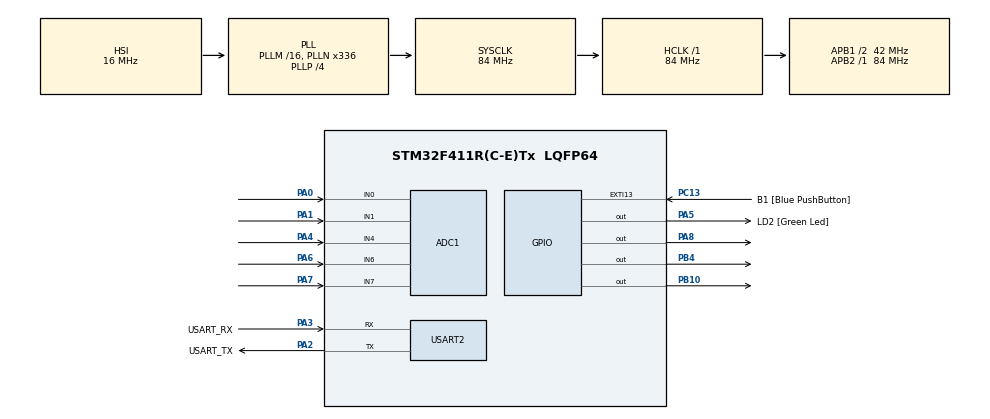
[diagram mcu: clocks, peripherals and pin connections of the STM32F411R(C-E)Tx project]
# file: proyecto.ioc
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ADC1.Channel-0\#ChannelRegularConversion=ADC_CHANNEL_0
ADC1.Channel-1\#ChannelRegularConversion=ADC_CHANNEL_1
ADC1.Channel-2\#ChannelRegularConversion=ADC_CHANNEL_4
ADC1.Channel-3\#ChannelRegularConversion=ADC_CHANNEL_6
ADC1.Channel-4\#ChannelRegularConversion=ADC_CHANNEL_7
ADC1.ContinuousConvMode=ENABLE
ADC1.DMAContinuousRequests=DISABLE
ADC1.NbrOfConversion=5
ADC1.NbrOfConversionFlag=1
ADC1.Rank-0\#ChannelRegularConversion=1
ADC1.Rank-1\#ChannelRegularConversion=2
ADC1.Rank-2\#ChannelRegularConversion=3
ADC1.Rank-3\#ChannelRegularConversion=4
ADC1.Rank-4\#ChannelRegularConversion=5
ADC1.SamplingTime-0\#ChannelRegularConversion=ADC_SAMPLETIME_480CYCLES
ADC1.SamplingTime-1\#ChannelRegularConversion=ADC_SAMPLETIME_480CYCLES
ADC1.SamplingTime-2\#ChannelRegularConversion=ADC_SAMPLETIME_480CYCLES
ADC1.SamplingTime-3\#ChannelRegularConversion=ADC_SAMPLETIME_480CYCLES
ADC1.SamplingTime-4\#ChannelRegularConversion=ADC_SAMPLETIME_480CYCLES
ADC1.master=1
FREERTOS.Events01=configUnits,Dynamic,NULL;conversion,Dynamic,NULL;dataReady,Dynamic,NULL
FREERTOS.Mutexes01=adc,Dynamic,NULL
FREERTOS.Queues01=tempQueue,128,float,0,Dynamic,NULL,NULL;lightQueue,128,float,0,Dynamic,NULL,NULL;rollQueue,128,float,0,Dynamic,NULL,NULL;pitchQueue,128,float,0,Dynamic,NULL,NULL;yawQueue,128,float,0,Dynamic,NULL,NULL
FREERTOS.Tasks01=serialConfig,24,128,startSerialConfig,Default,NULL,Dynamic,NULL,NULL;sendSerial,24,128,startSendSerial,Default,NULL,Dynamic,NULL,NULL;getTemp,8,128,startGetTemp,Default,NULL,Dynamic,NULL,NULL;getLight,8,128,startGetLight,Default,NULL,Dynamic,NULL,NULL;getRoll,8,128,startGetRoll,Default,NULL,Dynamic,NULL,NULL;getPitch,8,128,startGetPitch,Default,NULL,Dynamic,NULL,NULL;getYaw,8,128,startGetYaw,Default,NULL,Dynamic,NULL,NULL;resetTask,8,128,StartTask08,Default,NULL,Dynamic,NULL,NULL
Mcu.Family=STM32F4
Mcu.Name=STM32F411R(C-E)Tx
Mcu.Package=LQFP64
NVIC.PriorityGroup=NVIC_PRIORITYGROUP_4
NVIC.USART2_IRQn=true\:5\:0\:false\:false\:true\:true\:true\:true
PA0-WKUP.Signal=ADCx_IN0
PA1.Signal=ADCx_IN1
PA13.GPIO_Label=TMS
PA13.Mode=Serial_Wire
PA13.Signal=SYS_JTMS-SWDIO
PA14.GPIO_Label=TCK
PA14.Mode=Serial_Wire
PA14.Signal=SYS_JTCK-SWCLK
PA2.GPIO_Label=USART_TX
PA2.Mode=Asynchronous
PA2.Signal=USART2_TX
PA3.GPIO_Label=USART_RX
PA3.Mode=Asynchronous
PA3.Signal=USART2_RX
PA4.Signal=ADCx_IN4
PA5.GPIO_Label=LD2 [Green Led]
PA5.Signal=GPIO_Output
PA6.Signal=ADCx_IN6
PA7.Signal=ADCx_IN7
PA8.Signal=GPIO_Output
PB10.Signal=GPIO_Output
PB3.GPIO_Label=SWO
PB3.Signal=SYS_JTDO-SWO
PB4.Signal=GPIO_Output
PC13-ANTI_TAMP.GPIO_Label=B1 [Blue PushButton]
PC13-ANTI_TAMP.GPIO_ModeDefaultEXTI=GPIO_MODE_IT_FALLING
PC13-ANTI_TAMP.Signal=GPXTI13
PC14-OSC32_IN.Mode=LSE-External-Oscillator
PC14-OSC32_IN.Signal=RCC_OSC32_IN
PC15-OSC32_OUT.Mode=LSE-External-Oscillator
PC15-OSC32_OUT.Signal=RCC_OSC32_OUT
PH0\ -\ OSC_IN.Mode=HSE-External-Clock-Source
PH0\ -\ OSC_IN.Signal=RCC_OSC_IN
PH1\ -\ OSC_OUT.Mode=HSE-External-Clock-Source
PH1\ -\ OSC_OUT.Signal=RCC_OSC_OUT
ProjectManager.HeapSize=0x200
ProjectManager.StackSize=0x400
ProjectManager.TargetToolchain=STM32CubeIDE
RCC.48MHZClocksFreq_Value=84000000
RCC.AHBFreq_Value=84000000
RCC.APB1CLKDivider=RCC_HCLK_DIV2
RCC.APB1Freq_Value=42000000
RCC.APB1TimFreq_Value=84000000
RCC.APB2Freq_Value=84000000
RCC.APB2TimFreq_Value=84000000
RCC.CortexFreq_Value=84000000
RCC.FLatency-AdvancedSettings=FLASH_LATENCY_2
RCC.HCLKFreq_Value=84000000
RCC.HSE_VALUE=8000000
RCC.HSI_VALUE=16000000
RCC.PLLN=336
RCC.PLLP=RCC_PLLP_DIV4
RCC.SYSCLKFreq_VALUE=84000000
RCC.SYSCLKSource=RCC_SYSCLKSOURCE_PLLCLK
RCC.VCOOutputFreq_Value=336000000
SH.ADCx_IN0.0=ADC1_IN0,IN0
SH.ADCx_IN1.0=ADC1_IN1,IN1
SH.ADCx_IN4.0=ADC1_IN4,IN4
SH.ADCx_IN6.0=ADC1_IN6,IN6
SH.ADCx_IN7.0=ADC1_IN7,IN7
USART2.VirtualMode=VM_ASYNC
VP_FREERTOS_VS_CMSIS_V2.Mode=CMSIS_V2
board=NUCLEO-F411RE

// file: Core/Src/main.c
/* USER CODE BEGIN Header */
/**
  ******************************************************************************
  * @file           : main.c
  * @brief          : Main program body
  ******************************************************************************
  * @attention
  *
  * <h2><center>&copy; Copyright (c) 2021 STMicroelectronics.
  * All rights reserved.</center></h2>
  *
  * This software component is licensed by ST under BSD 3-Clause license,
  * the "License"; You may not use this file except in compliance with the
  * License. You may obtain a copy of the License at:
  *                        opensource.org/licenses/BSD-3-Clause
  *
  ******************************************************************************
  */
/* USER CODE END Header */
#include "main.h"
#include "cmsis_os.h"

/* USER CODE BEGIN Includes */
#include <math.h>
#include <string.h>
#include <stdio.h>
#include <stdlib.h>
/* USER CODE END Includes */

/* USER CODE BEGIN PD */
#define SERIAL_DELAY	500

#define ACC_X_ZERO	1.627
#define ACC_Y_ZERO	1.650
#define ACC_Z_ZERO	2.04

#define ACC_X_OFFSET -0.012217294
#define ACC_Y_OFFSET 0.026179917
#define ACC_Z_OFFSET 0

#define SENSITIVITY 0.3
#define PI			3.14159265359

#define RESOLUTION 4096.0

#define RED 0
#define GREEN 1
#define BLUE 2
/* USER CODE END PD */

ADC_HandleTypeDef hadc1;

UART_HandleTypeDef huart2;

/* Definitions for serialConfig */
osThreadId_t serialConfigHandle;
const osThreadAttr_t serialConfig_attributes = {
  .name = "serialConfig",
  .stack_size = 128 * 4,
  .priority = (osPriority_t) osPriorityNormal,
};
/* Definitions for sendSerial */
osThreadId_t sendSerialHandle;
const osThreadAttr_t sendSerial_attributes = {
  .name = "sendSerial",
  .stack_size = 128 * 4,
  .priority = (osPriority_t) osPriorityNormal,
};
/* Definitions for getTemp */
osThreadId_t getTempHandle;
const osThreadAttr_t getTemp_attributes = {
  .name = "getTemp",
  .stack_size = 128 * 4,
  .priority = (osPriority_t) osPriorityLow,
};
/* Definitions for getLight */
osThreadId_t getLightHandle;
const osThreadAttr_t getLight_attributes = {
  .name = "getLight",
  .stack_size = 128 * 4,
  .priority = (osPriority_t) osPriorityLow,
};
/* Definitions for getRoll */
osThreadId_t getRollHandle;
const osThreadAttr_t getRoll_attributes = {
  .name = "getRoll",
  .stack_size = 128 * 4,
  .priority = (osPriority_t) osPriorityLow,
};
/* Definitions for getPitch */
osThreadId_t getPitchHandle;
const osThreadAttr_t getPitch_attributes = {
  .name = "getPitch",
  .stack_size = 128 * 4,
  .priority = (osPriority_t) osPriorityLow,
};
/* Definitions for getYaw */
osThreadId_t getYawHandle;
const osThreadAttr_t getYaw_attributes = {
  .name = "getYaw",
  .stack_size = 128 * 4,
  .priority = (osPriority_t) osPriorityLow,
};
/* Definitions for resetTask */
osThreadId_t resetTaskHandle;
const osThreadAttr_t resetTask_attributes = {
  .name = "resetTask",
  .stack_size = 128 * 4,
  .priority = (osPriority_t) osPriorityLow,
};
/* Definitions for tempQueue */
osMessageQueueId_t tempQueueHandle;
const osMessageQueueAttr_t tempQueue_attributes = {
  .name = "tempQueue"
};
/* Definitions for lightQueue */
osMessageQueueId_t lightQueueHandle;
const osMessageQueueAttr_t lightQueue_attributes = {
  .name = "lightQueue"
};
/* Definitions for rollQueue */
osMessageQueueId_t rollQueueHandle;
const osMessageQueueAttr_t rollQueue_attributes = {
  .name = "rollQueue"
};
/* Definitions for pitchQueue */
osMessageQueueId_t pitchQueueHandle;
const osMessageQueueAttr_t pitchQueue_attributes = {
  .name = "pitchQueue"
};
/* Definitions for yawQueue */
osMessageQueueId_t yawQueueHandle;
const osMessageQueueAttr_t yawQueue_attributes = {
  .name = "yawQueue"
};
/* Definitions for adc */
osMutexId_t adcHandle;
const osMutexAttr_t adc_attributes = {
  .name = "adc"
};
/* Definitions for configUnits */
osEventFlagsId_t configUnitsHandle;
const osEventFlagsAttr_t configUnits_attributes = {
  .name = "configUnits"
};
/* Definitions for conversion */
osEventFlagsId_t conversionHandle;
const osEventFlagsAttr_t conversion_attributes = {
  .name = "conversion"
};
/* Definitions for dataReady */
osEventFlagsId_t dataReadyHandle;
const osEventFlagsAttr_t dataReady_attributes = {
  .name = "dataReady"
};
/* USER CODE BEGIN PV */
union serial_t{

	uint8_t i[256];
	char	c[256];
}str;

typedef struct units_t{

	char temp;
	char tilt[4];
};

struct units_t units;

uint8_t size;

HAL_StatusTypeDef status;

typedef struct sensors_t{

	float temp;
	float light;
	float roll;
	float pitch;
	float yaw;
};
/* USER CODE END PV */

void SystemClock_Config(void);
static void MX_GPIO_Init(void);
static void MX_USART2_UART_Init(void);
static void MX_ADC1_Init(void);
void startSerialConfig(void *argument);
void startSendSerial(void *argument);
void startGetTemp(void *argument);
void startGetLight(void *argument);
void startGetRoll(void *argument);
void startGetPitch(void *argument);
void startGetYaw(void *argument);
void StartTask08(void *argument);

/* USER CODE BEGIN PFP */
float changeTempUnit (float temp, char unit);
float changeTiltUnit (float  tilt, char* unit);
float convertTemp (uint32_t raw);
uint8_t  buildMessage (uint8_t* string, struct sensors_t sensors);
void convertTilt (float* tilt,uint32_t raw, char axis);
void selTemp ();
void selLight ();
void selRoll ();
void selPitch ();
void selYaw ();
void changeLed (uint8_t state);
/* USER CODE END PFP */

/* USER CODE BEGIN 0 */
void selTemp (){

	  ADC_ChannelConfTypeDef sConfig = {0};

	  sConfig.Channel = ADC_CHANNEL_0;
	  sConfig.Rank = 1;
	  sConfig.SamplingTime = ADC_SAMPLETIME_480CYCLES;
	  if (HAL_ADC_ConfigChannel(&hadc1, &sConfig) != HAL_OK)
	  {
	    Error_Handler();
	  }
}

void selLight (){

	  ADC_ChannelConfTypeDef sConfig = {0};

	  sConfig.Channel = ADC_CHANNEL_1;
	  sConfig.Rank = 1;
	  if (HAL_ADC_ConfigChannel(&hadc1, &sConfig) != HAL_OK)
	  {
	    Error_Handler();
	  }
}

void selRoll (){

	  ADC_ChannelConfTypeDef sConfig = {0};

	  sConfig.Channel = ADC_CHANNEL_4;
	  sConfig.Rank = 1;
	  if (HAL_ADC_ConfigChannel(&hadc1, &sConfig) != HAL_OK)
	  {
	    Error_Handler();
	  }
}

void selPitch (){

	  ADC_ChannelConfTypeDef sConfig = {0};

	  sConfig.Channel = ADC_CHANNEL_6;
	  sConfig.Rank = 1;
	  if (HAL_ADC_ConfigChannel(&hadc1, &sConfig) != HAL_OK)
	  {
	    Error_Handler();
	  }
}

void selYaw (){

	ADC_ChannelConfTypeDef sConfig = {0};

	  sConfig.Channel = ADC_CHANNEL_7;
	  sConfig.Rank = 1;
	  if (HAL_ADC_ConfigChannel(&hadc1, &sConfig) != HAL_OK)
	  {
	    Error_Handler();
	  }
}

uint8_t buildMessage (uint8_t* string, struct sensors_t sensors){

	uint8_t size;

	size = sprintf(str.c,"%.2f\t\t\t%.2f\t\t\t%.2f\t\t\t%.2f\t\t\t%.2f\n",sensors.temp,sensors.light,sensors.roll,sensors.pitch,sensors.yaw);
	return size;
}

float changeTiltUnit (float tilt, char* unit){//rad to deg

	if (strcmp(unit,"deg") == 0){

		tilt = tilt*180.0 / PI;
	}
	return tilt;
}
float changeTempUnit (float temp, char unit){//C to whatever

	switch (unit){

		case 'C':
			break;

		case 'K':
			temp += 273.15;
			break;

		case 'F':
			temp = temp*1.8 +32;
			break;

		case 'R':
			temp = temp*1.8 + 32 + 459.67;
			break;
	}

	return temp;
}

float convertTemp (uint32_t raw){

	float volt, temp;

	volt = (3.3 * raw) / RESOLUTION;
	temp = (volt - 0.5) * 100;

	return temp;
}

float convertLight (uint32_t raw){

	float light,volt,r;

	volt = (3.3 * raw) / RESOLUTION;
	r = (1000.0 * 3.3 - 1000.0 * volt) / volt;
	light = 500.0 / (r / 1000.0);

	return light;
}

void convertTilt (float* tilt,uint32_t raw, char axis){

	float volt,acc;

	volt = (3.3 * raw) / RESOLUTION;

	switch (axis){

	case 'X':
		acc = (volt - ACC_X_ZERO) / SENSITIVITY;
		*tilt = asin(acc) - ACC_X_OFFSET;//rad
		break;

	case 'Y':
		acc = (volt - ACC_Y_ZERO) / SENSITIVITY;
		*tilt = asin(acc) - ACC_Y_OFFSET;//rad
		break;

	case 'Z':
		acc = (volt - ACC_Z_ZERO) / SENSITIVITY;
		*tilt = asin(acc) - ACC_Z_OFFSET;//rad
		break;
	}

}

void HAL_UART_TxCpltCallback(UART_HandleTypeDef *huart){

	HAL_GPIO_TogglePin(LD2_GPIO_Port, LD2_Pin);
}

void changeLed(uint8_t state){

	if (state == BLUE){

		HAL_GPIO_TogglePin(GPIOA, GPIO_PIN_8);
		HAL_GPIO_WritePin(GPIOB, GPIO_PIN_4, 1);
		HAL_GPIO_WritePin(GPIOB, GPIO_PIN_10, 1);
	}

	if (state == RED){

		HAL_GPIO_WritePin(GPIOA, GPIO_PIN_8, 1);
		HAL_GPIO_TogglePin(GPIOB, GPIO_PIN_4);
		HAL_GPIO_WritePin(GPIOB, GPIO_PIN_10, 1);
	}

	if (state == GREEN){

		HAL_GPIO_WritePin(GPIOA, GPIO_PIN_8, 1);
		HAL_GPIO_WritePin(GPIOB, GPIO_PIN_4, 1);
		HAL_GPIO_TogglePin(GPIOB, GPIO_PIN_10);
	}
}
/* USER CODE END 0 */

int main(void)
{

  /* MCU Configuration--------------------------------------------------------*/

  /* Reset of all peripherals, Initializes the Flash interface and the Systick. */
  HAL_Init();

  /* Configure the system clock */
  SystemClock_Config();

  /* Initialize all configured peripherals */
  MX_GPIO_Init();
  MX_USART2_UART_Init();
  MX_ADC1_Init();

  /* Init scheduler */
  osKernelInitialize();
  /* Create the mutex(es) */
  /* creation of adc */
  adcHandle = osMutexNew(&adc_attributes);

  /* Create the queue(s) */
  /* creation of tempQueue */
  tempQueueHandle = osMessageQueueNew (128, sizeof(float), &tempQueue_attributes);

  /* creation of lightQueue */
  lightQueueHandle = osMessageQueueNew (128, sizeof(float), &lightQueue_attributes);

  /* creation of rollQueue */
  rollQueueHandle = osMessageQueueNew (128, sizeof(float), &rollQueue_attributes);

  /* creation of pitchQueue */
  pitchQueueHandle = osMessageQueueNew (128, sizeof(float), &pitchQueue_attributes);

  /* creation of yawQueue */
  yawQueueHandle = osMessageQueueNew (128, sizeof(float), &yawQueue_attributes);

  /* Create the thread(s) */
  /* creation of serialConfig */
  serialConfigHandle = osThreadNew(startSerialConfig, NULL, &serialConfig_attributes);

  /* creation of sendSerial */
  sendSerialHandle = osThreadNew(startSendSerial, NULL, &sendSerial_attributes);

  /* creation of getTemp */
  getTempHandle = osThreadNew(startGetTemp, NULL, &getTemp_attributes);

  /* creation of getLight */
  getLightHandle = osThreadNew(startGetLight, NULL, &getLight_attributes);

  /* creation of getRoll */
  getRollHandle = osThreadNew(startGetRoll, NULL, &getRoll_attributes);

  /* creation of getPitch */
  getPitchHandle = osThreadNew(startGetPitch, NULL, &getPitch_attributes);

  /* creation of getYaw */
  getYawHandle = osThreadNew(startGetYaw, NULL, &getYaw_attributes);

  /* creation of resetTask */
  resetTaskHandle = osThreadNew(StartTask08, NULL, &resetTask_attributes);

  /* creation of configUnits */
  configUnitsHandle = osEventFlagsNew(&configUnits_attributes);

  /* creation of conversion */
  conversionHandle = osEventFlagsNew(&conversion_attributes);

  /* creation of dataReady */
  dataReadyHandle = osEventFlagsNew(&dataReady_attributes);

  /* USER CODE BEGIN RTOS_EVENTS */
	HAL_GPIO_WritePin(GPIOA, GPIO_PIN_8, 1);
	HAL_GPIO_WritePin(GPIOB, GPIO_PIN_4, 1);
	HAL_GPIO_WritePin(GPIOB, GPIO_PIN_10, 1);

	HAL_UART_Receive(&huart2, str.i, 7, HAL_MAX_DELAY);
	units.temp = str.c[6];

	strcpy(str.c,"");
	HAL_UART_Receive(&huart2, str.i, 9, HAL_MAX_DELAY);
	sprintf(units.tilt,"%c%c%c",str.i[6],str.i[7],str.i[8]);
  /* USER CODE END RTOS_EVENTS */

  /* Start scheduler */
  osKernelStart();

  /* We should never get here as control is now taken by the scheduler */
  /* Infinite loop */
  while (1)
  {

  }
}

void SystemClock_Config(void)
{
  RCC_OscInitTypeDef RCC_OscInitStruct = {0};
  RCC_ClkInitTypeDef RCC_ClkInitStruct = {0};

  /** Configure the main internal regulator output voltage
  */
  __HAL_RCC_PWR_CLK_ENABLE();
  __HAL_PWR_VOLTAGESCALING_CONFIG(PWR_REGULATOR_VOLTAGE_SCALE1);
  /** Initializes the RCC Oscillators according to the specified parameters
  * in the RCC_OscInitTypeDef structure.
  */
  RCC_OscInitStruct.OscillatorType = RCC_OSCILLATORTYPE_HSI;
  RCC_OscInitStruct.HSIState = RCC_HSI_ON;
  RCC_OscInitStruct.HSICalibrationValue = RCC_HSICALIBRATION_DEFAULT;
  RCC_OscInitStruct.PLL.PLLState = RCC_PLL_ON;
  RCC_OscInitStruct.PLL.PLLSource = RCC_PLLSOURCE_HSI;
  RCC_OscInitStruct.PLL.PLLM = 16;
  RCC_OscInitStruct.PLL.PLLN = 336;
  RCC_OscInitStruct.PLL.PLLP = RCC_PLLP_DIV4;
  RCC_OscInitStruct.PLL.PLLQ = 4;
  if (HAL_RCC_OscConfig(&RCC_OscInitStruct) != HAL_OK)
  {
    Error_Handler();
  }
  /** Initializes the CPU, AHB and APB buses clocks
  */
  RCC_ClkInitStruct.ClockType = RCC_CLOCKTYPE_HCLK|RCC_CLOCKTYPE_SYSCLK
                              |RCC_CLOCKTYPE_PCLK1|RCC_CLOCKTYPE_PCLK2;
  RCC_ClkInitStruct.SYSCLKSource = RCC_SYSCLKSOURCE_PLLCLK;
  RCC_ClkInitStruct.AHBCLKDivider = RCC_SYSCLK_DIV1;
  RCC_ClkInitStruct.APB1CLKDivider = RCC_HCLK_DIV2;
  RCC_ClkInitStruct.APB2CLKDivider = RCC_HCLK_DIV1;

  if (HAL_RCC_ClockConfig(&RCC_ClkInitStruct, FLASH_LATENCY_2) != HAL_OK)
  {
    Error_Handler();
  }
}

static void MX_ADC1_Init(void)
{

  ADC_ChannelConfTypeDef sConfig = {0};

  /** Configure the global features of the ADC (Clock, Resolution, Data Alignment and number of conversion)
  */
  hadc1.Instance = ADC1;
  hadc1.Init.ClockPrescaler = ADC_CLOCK_SYNC_PCLK_DIV4;
  hadc1.Init.Resolution = ADC_RESOLUTION_12B;
  hadc1.Init.ScanConvMode = ENABLE;
  hadc1.Init.ContinuousConvMode = ENABLE;
  hadc1.Init.DiscontinuousConvMode = DISABLE;
  hadc1.Init.ExternalTrigConvEdge = ADC_EXTERNALTRIGCONVEDGE_NONE;
  hadc1.Init.ExternalTrigConv = ADC_SOFTWARE_START;
  hadc1.Init.DataAlign = ADC_DATAALIGN_RIGHT;
  hadc1.Init.NbrOfConversion = 1;
  hadc1.Init.DMAContinuousRequests = DISABLE;
  hadc1.Init.EOCSelection = ADC_EOC_SINGLE_CONV;
  if (HAL_ADC_Init(&hadc1) != HAL_OK)
  {
    Error_Handler();
  }

}

static void MX_USART2_UART_Init(void)
{

  huart2.Instance = USART2;
  huart2.Init.BaudRate = 115200;
  huart2.Init.WordLength = UART_WORDLENGTH_8B;
  huart2.Init.StopBits = UART_STOPBITS_1;
  huart2.Init.Parity = UART_PARITY_NONE;
  huart2.Init.Mode = UART_MODE_TX_RX;
  huart2.Init.HwFlowCtl = UART_HWCONTROL_NONE;
  huart2.Init.OverSampling = UART_OVERSAMPLING_16;
  if (HAL_UART_Init(&huart2) != HAL_OK)
  {
    Error_Handler();
  }

}

static void MX_GPIO_Init(void)
{
  GPIO_InitTypeDef GPIO_InitStruct = {0};

  /* GPIO Ports Clock Enable */
  __HAL_RCC_GPIOC_CLK_ENABLE();
  __HAL_RCC_GPIOH_CLK_ENABLE();
  __HAL_RCC_GPIOA_CLK_ENABLE();
  __HAL_RCC_GPIOB_CLK_ENABLE();

  /*Configure GPIO pin Output Level */
  HAL_GPIO_WritePin(GPIOA, LD2_Pin|GPIO_PIN_8, GPIO_PIN_RESET);

  /*Configure GPIO pin Output Level */
  HAL_GPIO_WritePin(GPIOB, GPIO_PIN_10|GPIO_PIN_4, GPIO_PIN_RESET);

  /*Configure GPIO pin : B1_Pin */
  GPIO_InitStruct.Pin = B1_Pin;
  GPIO_InitStruct.Mode = GPIO_MODE_IT_FALLING;
  GPIO_InitStruct.Pull = GPIO_NOPULL;
  HAL_GPIO_Init(B1_GPIO_Port, &GPIO_InitStruct);

  /*Configure GPIO pins : LD2_Pin PA8 */
  GPIO_InitStruct.Pin = LD2_Pin|GPIO_PIN_8;
  GPIO_InitStruct.Mode = GPIO_MODE_OUTPUT_PP;
  GPIO_InitStruct.Pull = GPIO_NOPULL;
  GPIO_InitStruct.Speed = GPIO_SPEED_FREQ_LOW;
  HAL_GPIO_Init(GPIOA, &GPIO_InitStruct);

  /*Configure GPIO pins : PB10 PB4 */
  GPIO_InitStruct.Pin = GPIO_PIN_10|GPIO_PIN_4;
  GPIO_InitStruct.Mode = GPIO_MODE_OUTPUT_PP;
  GPIO_InitStruct.Pull = GPIO_NOPULL;
  GPIO_InitStruct.Speed = GPIO_SPEED_FREQ_LOW;
  HAL_GPIO_Init(GPIOB, &GPIO_InitStruct);

}

void startSerialConfig(void *argument)
{
  /* USER CODE BEGIN 5 */
  /* Infinite loop */
  for(;;)
  {

	vTaskSuspend( NULL );
  }
  /* USER CODE END 5 */
}

void startSendSerial(void *argument)
{
  /* USER CODE BEGIN startSendSerial */
	struct sensors_t sensors;
	uint8_t prio = 1;
  /* Infinite loop */
  for(;;)
  {
	osMessageQueueGet(tempQueueHandle,&sensors.temp, &prio, osWaitForever);
	osMessageQueueGet(lightQueueHandle,&sensors.light, &prio, osWaitForever);
	osMessageQueueGet(rollQueueHandle,&sensors.roll, &prio, osWaitForever);
	osMessageQueueGet(pitchQueueHandle,&sensors.pitch, &prio, osWaitForever);
	osMessageQueueGet(yawQueueHandle,&sensors.yaw, &prio, osWaitForever);

	size = buildMessage(str.i, sensors);
	if(HAL_UART_Transmit(&huart2, str.i, size,10) == HAL_OK){changeLed(GREEN);}
	else{changeLed(RED);}
    osDelay(SERIAL_DELAY);
  }
  /* USER CODE END startSendSerial */
}

void startGetTemp(void *argument)
{
  /* USER CODE BEGIN startGetTemp */
	float temp;
	uint32_t raw_temp;
	HAL_StatusTypeDef status;

  /* Infinite loop */
  for(;;)
  {
	  osMutexAcquire(adcHandle, osWaitForever);

	  selTemp();
	  HAL_ADC_Start(&hadc1);
	  status = HAL_ADC_PollForConversion (& hadc1 , 1);
	  if (status == HAL_OK){

		  raw_temp = HAL_ADC_GetValue(&hadc1);
		  temp = convertTemp (raw_temp);									 //convert raw to float
		  temp = changeTempUnit (temp,units.temp);
		  osMessageQueuePut(tempQueueHandle,&temp,1,osWaitForever);  //put message
	  }
	  else{
		  while(1){

			  changeLed(BLUE);
			  HAL_Delay(500);
		  }
	  }
	  HAL_ADC_Stop(&hadc1);
	  osMutexRelease(adcHandle);
	  osDelay(SERIAL_DELAY);
  }
  /* USER CODE END startGetTemp */
}

void startGetLight(void *argument)
{
  /* USER CODE BEGIN startGetLight */
	float light;
	uint32_t raw_light;
	HAL_StatusTypeDef status;

  /* Infinite loop */
  for(;;)
  {
	  osMutexAcquire(adcHandle, osWaitForever);

	  selLight();
	  HAL_ADC_Start(&hadc1);
	  status = HAL_ADC_PollForConversion (& hadc1 , 1);
	  if (status == HAL_OK){

		  raw_light = HAL_ADC_GetValue(&hadc1);
		  light = convertLight(raw_light);					   				 //convert raw to float
		  osMessageQueuePut(lightQueueHandle,&light,1,osWaitForever);  //put message
	  }
	  else{
		  while(1){

			  changeLed(BLUE);
			  HAL_Delay(500);
		  }
	  }
	  HAL_ADC_Stop(&hadc1);
	  osMutexRelease(adcHandle);
	  osDelay(SERIAL_DELAY);
  }
  /* USER CODE END startGetLight */
}

void startGetRoll(void *argument)
{
  /* USER CODE BEGIN startGetRoll */
	float roll;
	uint32_t raw_roll;
	HAL_StatusTypeDef status;

  /* Infinite loop */
  for(;;)
  {
	  osMutexAcquire(adcHandle, osWaitForever);

	  selRoll();
	  HAL_ADC_Start(&hadc1);
	  status = HAL_ADC_PollForConversion (& hadc1 , 1);
	  if (status == HAL_OK){

		  raw_roll = HAL_ADC_GetValue(&hadc1);
		  convertTilt(&roll, raw_roll, 'X');		   				 //convert raw to float
		  roll = changeTiltUnit(roll,units.tilt);
		  osMessageQueuePut(rollQueueHandle,&roll,1,osWaitForever);  //put message
	  }
	  else{
		  while(1){

			  changeLed(BLUE);
			  HAL_Delay(500);
		  }
	  }
	  HAL_ADC_Stop(&hadc1);
	  osMutexRelease(adcHandle);

	  osDelay(SERIAL_DELAY);
  }
  /* USER CODE END startGetRoll */
}

void startGetPitch(void *argument)
{
  /* USER CODE BEGIN startGetPitch */
	float pitch;
	uint32_t raw_pitch;
	HAL_StatusTypeDef status;

  /* Infinite loop */
  for(;;)
  {
	  osMutexAcquire(adcHandle, osWaitForever);

	  selPitch();
	  HAL_ADC_Start(&hadc1);
	  status = HAL_ADC_PollForConversion (& hadc1 , 1);
	  if (status == HAL_OK){

		  raw_pitch = HAL_ADC_GetValue(&hadc1);
		  convertTilt(&pitch, raw_pitch, 'Y');		   				 //convert raw to float
		  pitch = changeTiltUnit(pitch,units.tilt);
		  osMessageQueuePut(pitchQueueHandle,&pitch,1,osWaitForever);  //put message
	  }
	  else{
		  while(1){

			  changeLed(BLUE);
			  HAL_Delay(500);
		  }
	  }
	  HAL_ADC_Stop(&hadc1);
	  osMutexRelease(adcHandle);

	  osDelay(SERIAL_DELAY);
  }
  /* USER CODE END startGetPitch */
}

void startGetYaw(void *argument)
{
  /* USER CODE BEGIN startGetYaw */
	float yaw;
	uint32_t raw_yaw;
	HAL_StatusTypeDef status;

  /* Infinite loop */
  for(;;)
  {
	  osMutexAcquire(adcHandle, osWaitForever);

	  selYaw();
	  HAL_ADC_Start(&hadc1);
	  status = HAL_ADC_PollForConversion (& hadc1 , 1);
	  if (status == HAL_OK){

		  raw_yaw = HAL_ADC_GetValue(&hadc1);
		  convertTilt(&yaw, raw_yaw, 'Z');		   				 //convert raw to float
		  yaw = changeTiltUnit(yaw,units.tilt);
		  osMessageQueuePut(yawQueueHandle,&yaw,1,osWaitForever);   //put message
	  }
	  else{
		  while(1){

			  changeLed(BLUE);
			  HAL_Delay(500);
		  }
	  }
	  HAL_ADC_Stop(&hadc1);
	  osMutexRelease(adcHandle);

	  osDelay(SERIAL_DELAY);
  }
  /* USER CODE END startGetYaw */
}

void StartTask08(void *argument)
{
  /* USER CODE BEGIN StartTask08 */
  /* Infinite loop */
  for(;;)
  {
	HAL_UART_Receive(&huart2, str.i, 1, HAL_MAX_DELAY);
	NVIC_SystemReset();
  }
  /* USER CODE END StartTask08 */
}

void Error_Handler(void)
{
  __disable_irq();
  while (1)
  {
  }
}

/************************ (C) COPYRIGHT STMicroelectronics *****END OF FILE****/
